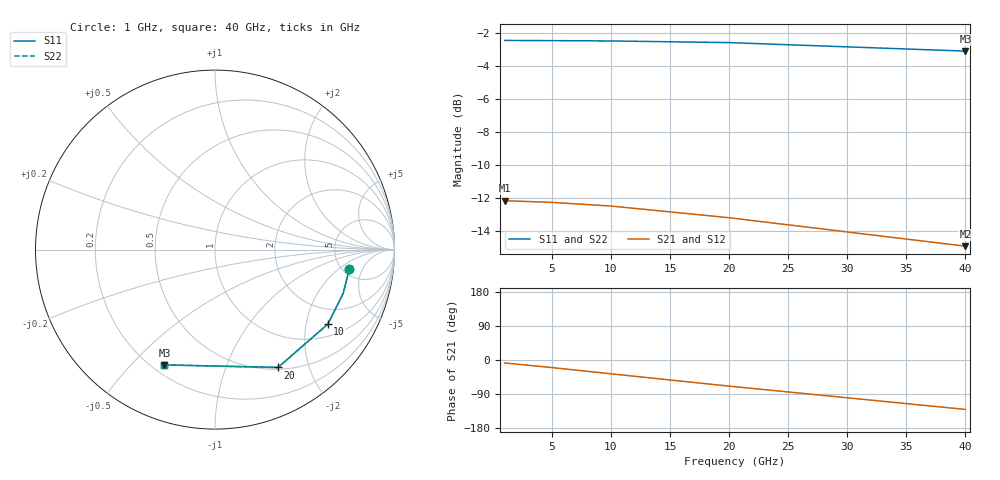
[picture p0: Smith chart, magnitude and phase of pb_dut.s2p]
! Generated by circuitRF - EM: Palace
! circuitRF-EM setup: g_zigzag_solids
! circuitRF-EM layout: zigzag/layout/zigzag.clay
! circuitRF-EM written: 2026-11-04 16:21:29Z
! circuitRF-EM geometry: 53dd922f03dbda4d
! circuitRF-EM mesh: be36879526fbbc1a
! circuitRF-EM ports: 8f8a5211b34b08b4
! circuitRF-EM model: Palace 0.18.1 (0dc74cd, schema 1-7-0)
! Port[1] = port/1
! Port[2] = port/2
! circuitRF-EM port 1: 'port/1' from 'airbox/zmin' to 'Metal1/1', wave (mode 1), 50 Ohm: Palace's S is referred to the mode's own impedance Z_PV, renormalised here to 50 Ohm; reference plane 0 um into the structure from the port face
! circuitRF-EM port 2: 'port/2' from 'airbox/zmin' to 'Metal1/2', wave (mode 1), 50 Ohm: Palace's S is referred to the mode's own impedance Z_PV, renormalised here to 50 Ohm; reference plane 0 um into the structure from the port face
! circuitRF-EM 3D mesh: 14,870 elements initially, 14,870 finally, 0 adaptive pass(es), element order 2
! circuitRF-EM 3D operating temperature: 20 C
! circuitRF-EM 3D run: preset Standard; 14870 -> 14870 tetrahedra; 103212 unknowns; 0 refinement pass(es); 7 frequency sample(s)
! circuitRF-EM 3D run cost: wall 955 s; Palace peak memory 1.6 GB
! circuitRF-EM 3D DC row: circuitRF conduction solve of the conductors, 4,347 elements, 0.47 s; ports as terminal pairs
! circuitRF-EM: re-running the EM setup rewrites this file. If circuitRF reports it as stale, the layout's cross-section changed after this file was written.
# GHz S RI R 50
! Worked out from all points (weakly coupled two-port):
!   5 points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, 1 GHz to 40 GHz, reference 50 ohm
!   highest |S21| = -12.18 dB at 1 GHz (marker M1); lowest = -15.0 dB at 40 GHz (marker M2)
!   lowest |S11| = -3.1 dB at 40 GHz (marker M3), VSWR 5.70, Z = 12.4 - j31.2 ohm
!   |S11| at or under -10 dB: nowhere
!   |S22| runs from -3.1 to -2.4 dB; largest |S21 - S12| = 2.5e-07
!   S11 on the Smith chart (normalised r, x): 1 GHz: 5.67, -2.90; 10 GHz: 1.40, -2.68; 20 GHz: 0.52, -1.54; 40 GHz: 0.25, -0.62
1  0.7478 -0.1095  0.2436 -0.0336  0.2436 -0.0336  0.7478 -0.1095
5  0.7145 -0.2433  0.2285 -0.083  0.2285 -0.083  0.7145 -0.2436
10  0.6285 -0.415  0.1906 -0.1407  0.1906 -0.1407  0.6283 -0.4155
20  0.3512 -0.6564  0.0783 -0.2037  0.0783 -0.2037  0.3504 -0.6573
40  -0.2819 -0.6422  -0.116 -0.1362  -0.116 -0.1362  -0.2851 -0.6424
